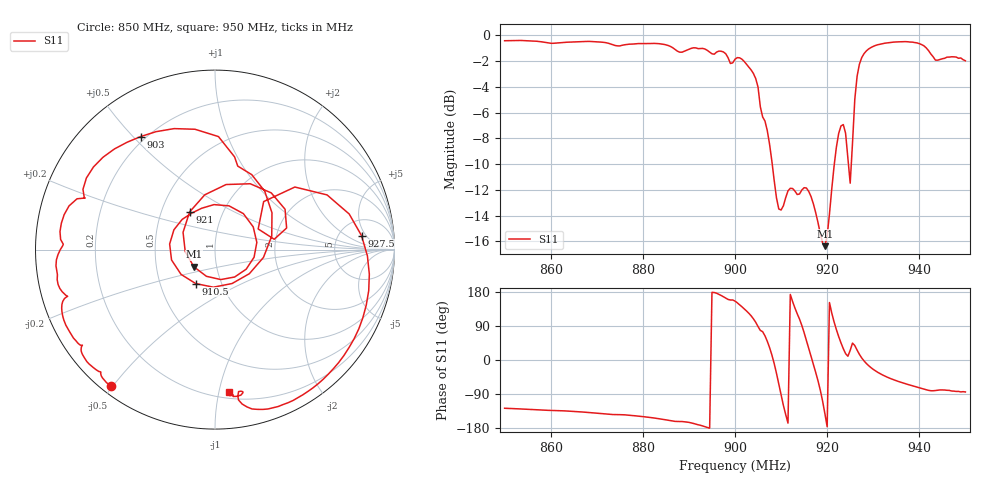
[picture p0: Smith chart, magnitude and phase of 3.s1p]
!CEYEAR,3656B,QZNG000064,1.3.8
!Calibration ON (Full Solt 2-Port(Omit Isolation))
!Measurements:S11
!2025-12-13 10:23
# Hz  S  dB  R 50.000
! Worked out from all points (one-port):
!   201 points, 850 MHz to 950 MHz, reference 50 ohm
!   lowest |S11| = -16.4 dB at 919.5 MHz (marker M1), VSWR 1.36, Z = 38.8 - j7.6 ohm
!   |S11| at or under -10 dB: 908.1 MHz to 921.6 MHz (13.47 MHz wide, 1.47 % of centre); 924.6259 MHz to 925.2395 MHz (613.6 kHz wide, 0.0663 % of centre)
!   S11 on the Smith chart (normalised r, x): 850 MHz: 0.03, -0.49; 903 MHz: 0.18, +0.53; 910.5 MHz: 0.75, -0.30; 921 MHz: 0.70, +0.31; 927.5 MHz: 8.26, +3.91; 950 MHz: 0.25, -1.07
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8.5e8  -0.41 -127.3
8.625e8  -0.55 -133.9
8.75e8  -0.81 -144.3
8.875e8  -1.22 -162.3
8.965e8  -1.21 173.4
9e8  -1.85 155.5
9.03e8  -2.45 123.3
9.05e8  -4.01 88.2
9.075e8  -8.45 32.9
9.09e8  -12.62 -35.0
9.105e8  -13.24 -119.7
9.125e8  -11.90 154.3
9.15e8  -11.83 72.2
9.165e8  -12.52 9.8
9.18e8  -14.52 -54.3
9.195e8  -16.38 -140.9
9.21e8  -11.93 123.9
9.225e8  -7.62 61.8
9.235e8  -6.93 29.9
9.245e8  -9.50 9.9
9.25e8  -11.48 25.5
9.26e8  -4.95 38.1
9.275e8  -1.72 5.4
9.295e8  -0.94 -20.1
9.315e8  -0.68 -36.1
9.375e8  -0.49 -64.5
9.425e8  -1.44 -81.1
9.5e8  -1.97 -84.3
